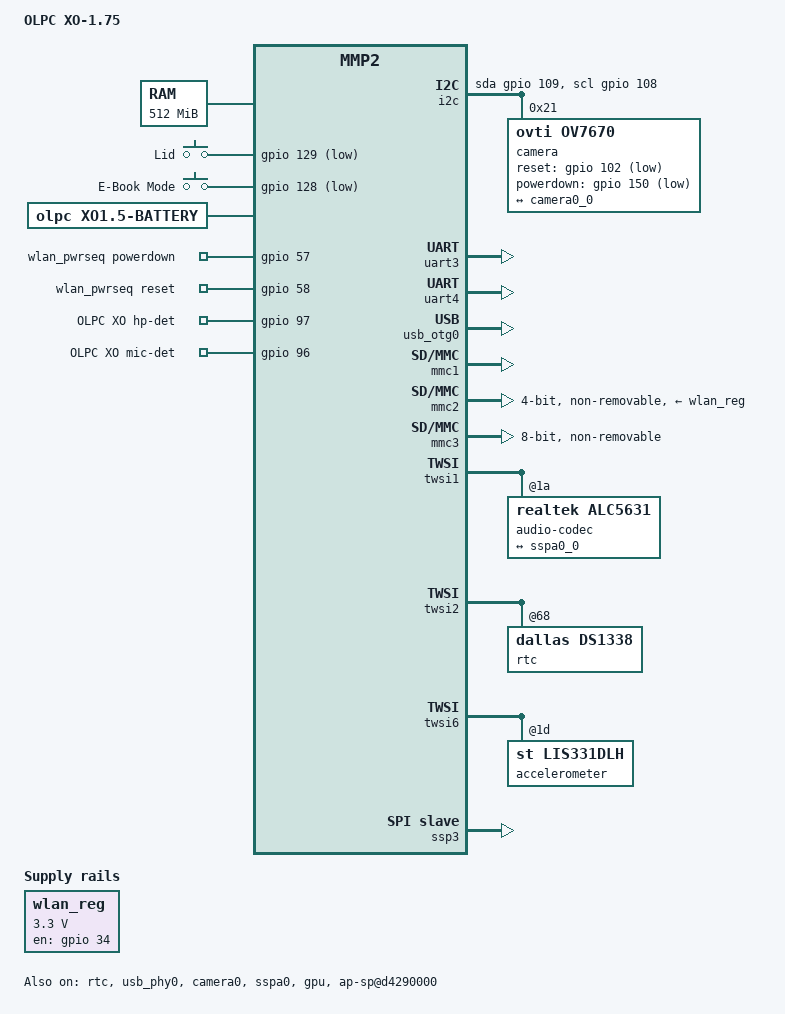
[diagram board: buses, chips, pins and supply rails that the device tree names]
// SPDX-License-Identifier: GPL-2.0-or-later OR MIT
/*
 * OLPC XO 1.75 Laptop.
 *
 * Copyright (C) 2018,2019,2020 Lubomir Rintel <lkundrak@v3.sk>
 */

/dts-v1/;
#include "mmp2.dtsi"
#include <dt-bindings/gpio/gpio.h>
#include <dt-bindings/input/linux-event-codes.h>
#include <dt-bindings/interrupt-controller/irq.h>
#include <dt-bindings/clock/marvell,mmp2-audio.h>

/ {
	model = "OLPC XO-1.75";
	compatible = "olpc,xo-1.75", "mrvl,mmp2";

	chosen {
		#address-cells = <1>;
		#size-cells = <1>;
		ranges;

		framebuffer@1fc00000 {
			compatible = "simple-framebuffer";
			reg = <0x1fc00000 (1200 * 900 * 2)>;
			width = <1200>;
			height = <900>;
			stride = <(1200 * 2)>;
			format = "r5g6b5";
			clocks = <&soc_clocks MMP2_CLK_DISP0_LCDC>,
				 <&soc_clocks MMP2_CLK_DISP0>;
		};
	};

	memory@0 {
		available = <0xcf000 0x1ef31000 0x1000 0xbf000>;
		reg = <0x0 0x20000000>;
		device_type = "memory";
	};

	gpio-keys {
		compatible = "gpio-keys";

		lid {
			label = "Lid";
			gpios = <&gpio 129 GPIO_ACTIVE_LOW>;
			linux,input-type = <EV_SW>;
			linux,code = <SW_LID>;
			wakeup-source;
		};

		tablet_mode {
			label = "E-Book Mode";
			gpios = <&gpio 128 GPIO_ACTIVE_LOW>;
			linux,input-type = <EV_SW>;
			linux,code = <SW_TABLET_MODE>;
			wakeup-source;
		};
	};

	i2c {
		compatible = "i2c-gpio";
		sda-gpios = <&gpio 109 (GPIO_ACTIVE_HIGH | GPIO_OPEN_DRAIN)>;
		scl-gpios = <&gpio 108 (GPIO_ACTIVE_HIGH | GPIO_OPEN_DRAIN)>;
		#address-cells = <1>;
		#size-cells = <0>;
		i2c-gpio,timeout-ms = <1000>;
		status = "okay";

		camera@21 {
			compatible = "ovti,ov7670";
			reg = <0x21>;
			reset-gpios = <&gpio 102 GPIO_ACTIVE_LOW>;
			powerdown-gpios = <&gpio 150 GPIO_ACTIVE_LOW>;
			clocks = <&camera0>;
			clock-names = "xclk";

			port {
				ov7670_0: endpoint {
					hsync-active = <1>;
					vsync-active = <1>;
					remote-endpoint = <&camera0_0>;
				};
			};
		};
	};

	battery {
		compatible = "olpc,xo1.5-battery", "olpc,xo1-battery";
	};

	wlan_reg: fixedregulator0 {
		compatible = "regulator-fixed";
		regulator-name = "wlan";
		regulator-min-microvolt = <3300000>;
		regulator-max-microvolt = <3300000>;
		gpio = <&gpio 34 GPIO_ACTIVE_HIGH>;
		enable-active-high;
	};

	wlan_pwrseq: pwrseq0 {
		compatible = "mmc-pwrseq-sd8787";
		powerdown-gpios = <&gpio 57 GPIO_ACTIVE_HIGH>;
		reset-gpios = <&gpio 58 GPIO_ACTIVE_HIGH>;
	};

	sound-card {
		compatible = "audio-graph-card";
		label = "OLPC XO";
		dais = <&sspa0_dai>;
		routing = "Headphones", "HPOL",
			  "Headphones", "HPOR",
			  "MIC2", "Mic Jack";
		widgets = "Headphone", "Headphones", "Microphone", "Mic Jack";
		hp-det-gpio = <&gpio 97 GPIO_ACTIVE_HIGH>;
		mic-det-gpio = <&gpio 96 GPIO_ACTIVE_HIGH>;
	};

	soc {
		axi@d4200000 {
			ap-sp@d4290000 {
				#address-cells = <1>;
				#size-cells = <0>;
				compatible = "olpc,ap-sp";
				interrupts = <40>;
				reg = <0xd4290000 0x1000>;
				data-gpios = <&gpio 72 GPIO_ACTIVE_HIGH>;
				clk-gpios = <&gpio 71 GPIO_ACTIVE_HIGH>;
				status = "okay";
			};
		};
	};
};

&uart3 {
	status = "okay";
};

&uart4 {
	status = "okay";
};

&rtc {
	status = "okay";
};

&usb_phy0 {
	status = "okay";
};

&usb_otg0 {
	status = "okay";
};

&mmc1 {
	clock-frequency = <50000000>;
	no-1-8-v;
	mrvl,clk-delay-cycles = <31>;
	broken-cd;
	status = "okay";
};

&mmc2 {
	clock-frequency = <50000000>;
	no-1-8-v;
	bus-width = <4>;
	non-removable;
	broken-cd;
	wakeup-source;
	keep-power-in-suspend;
	mmc-pwrseq = <&wlan_pwrseq>;
	vmmc-supply = <&wlan_reg>;
	status = "okay";
};

&mmc3 {
	clock-frequency = <50000000>;
	no-1-8-v;
	bus-width = <8>;
	non-removable;
	broken-cd;
	mrvl,clk-delay-cycles = <31>;
	status = "okay";
};

&twsi1 {
	status = "okay";

	audio-codec@1a {
		compatible = "realtek,alc5631";
		reg = <0x1a>;
		status = "okay";

		port {
			rt5631_0: endpoint {
				mclk-fs = <256>;
				clocks = <&audio_clk MMP2_CLK_AUDIO_SYSCLK>;
				remote-endpoint = <&sspa0_0>;
			};
		};
	};
};

&twsi2 {
	status = "okay";

	rtc@68 {
		compatible = "dallas,ds1338";
		reg = <0x68>;
		status = "okay";
	};
};

&twsi6 {
	status = "okay";

	accelerometer@1d {
		compatible = "st,lis331dlh", "st,lis3lv02d";
		reg = <0x1d>;
		status = "okay";
	};
};

&ssp3 {
	#address-cells = <0>;
	spi-slave;
	status = "okay";
	ready-gpios = <&gpio 125 GPIO_ACTIVE_HIGH>;

	slave {
		compatible = "olpc,xo1.75-ec";
		spi-cpha;
		cmd-gpios = <&gpio 155 GPIO_ACTIVE_HIGH>;
	};
};

&camera0 {
	status = "okay";

	port {
		camera0_0: endpoint {
			remote-endpoint = <&ov7670_0>;
		};
	};
};

&asram {
	status = "okay";
};

&adma0 {
	status = "okay";
};

&audio_clk {
	status = "okay";
};

&sspa0 {
	status = "okay";
	dmas = <&adma0 0>, <&adma0 1>;
	dma-names = "tx", "rx";

	sspa0_dai: port {
		sspa0_0: endpoint {
			remote-endpoint = <&rt5631_0>;
			frame-master;
			bitclock-master;
			dai-format = "i2s";
		};
	};
};

&gpu {
	status = "okay";
};
